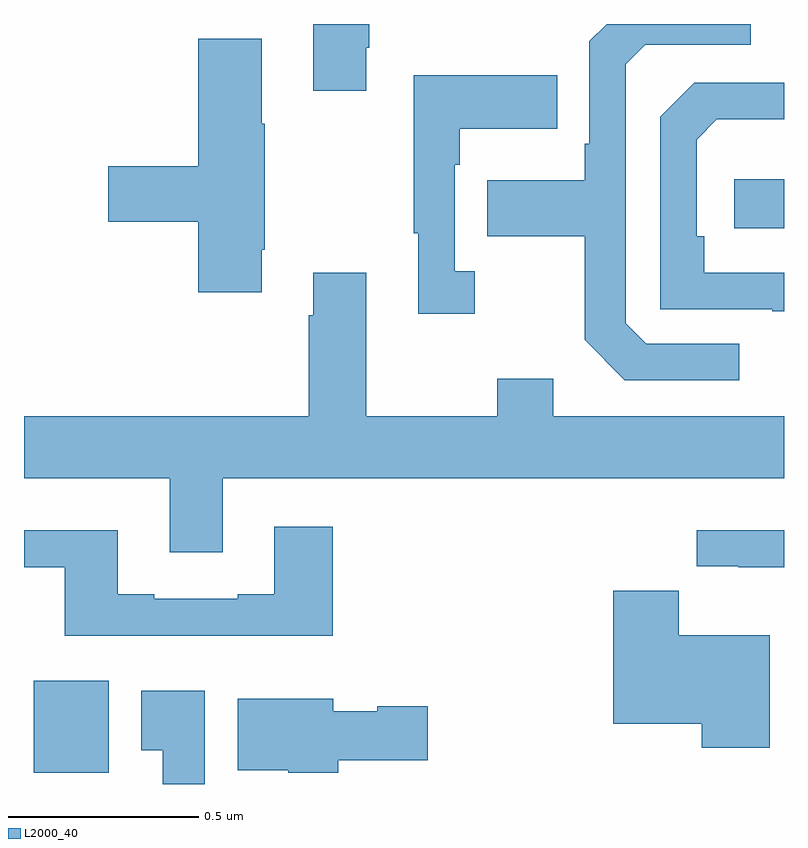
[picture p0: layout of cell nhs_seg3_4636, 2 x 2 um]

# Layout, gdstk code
import gdstk
lib = gdstk.Library(unit=1e-6, precision=1e-09)
def R(c, l, rs):  # rectangles x0, y0, x1, y1
    for r in rs: c.add(gdstk.rectangle(r[:2], r[2:], *l))
def P(c, l, *ps):  # polygons
    for p in ps: c.add(gdstk.Polygon(p, *l))
L2000_40 = (2000, 40)

nhs_seg3_4636 = lib.new_cell('nhs_seg3_4636')
R(nhs_seg3_4636, L2000_40, [(168.026,745.43,168.223,745.672), (169.869,746.862,170,746.992)])
P(nhs_seg3_4636, L2000_40, [(168.901,747.337),(168.909,747.337),(168.909,747.4),(168.761,747.4),(168.761,747.225),(168.901,747.225)],
  [(169.882,746.559),(169.638,746.559),(169.584,746.613),(169.584,747.294),(169.635,747.345),(169.912,747.345),(169.912,747.4),(169.534,747.4),(169.488,747.354),(169.488,747.085),(169.476,747.085),(169.476,746.989),(169.219,746.989),(169.219,746.842),(169.476,746.842),(169.476,746.569),(169.581,746.463),(169.882,746.463)],
  [(168.625,746.806),(168.633,746.806),(168.633,747.137),(168.625,747.137),(168.625,747.361),(168.458,747.361),(168.458,747.026),(168.222,747.026),(168.222,746.879),(168.458,746.879),(168.458,746.694),(168.625,746.694)],
  [(169.186,746.75),(169.134,746.75),(169.134,747.029),(169.147,747.029),(169.147,747.125),(169.403,747.125),(169.403,747.265),(169.026,747.265),(169.026,746.849),(169.037,746.849),(169.037,746.637),(169.186,746.637)],
  [(170,746.745),(169.79,746.745),(169.79,746.842),(169.77,746.842),(169.77,747.096),(169.823,747.149),(170,747.149),(170,747.246),(169.764,747.246),(169.674,747.156),(169.674,746.649),(169.969,746.649),(169.969,746.644),(170,746.644)],
  [(168.523,746.204),(170,746.204),(170,746.368),(169.393,746.368),(169.393,746.467),(169.246,746.467),(169.246,746.368),(168.901,746.368),(168.901,746.746),(168.761,746.746),(168.761,746.633),(168.749,746.633),(168.749,746.368),(168,746.368),(168,746.204),(168.383,746.204),(168.383,746.01),(168.523,746.01)],
  [(168.812,746.077),(168.659,746.077),(168.659,745.9),(168.563,745.9),(168.563,745.887),(168.343,745.887),(168.343,745.9),(168.247,745.9),(168.247,746.068),(168,746.068),(168,745.971),(168.107,745.971),(168.107,745.79),(168.812,745.79)],
  [(170,746.068),(169.77,746.068),(169.77,745.973),(169.879,745.973),(169.879,745.971),(170,745.971)],
  [(169.963,745.792),(169.723,745.792),(169.723,745.908),(169.55,745.908),(169.55,745.559),(169.784,745.559),(169.784,745.496),(169.963,745.496)],
  [(168.475,745.645),(168.308,745.645),(168.308,745.489),(168.365,745.489),(168.365,745.4),(168.475,745.4)],
  [(168.827,745.462),(169.063,745.462),(169.063,745.604),(168.93,745.604),(168.93,745.591),(168.814,745.591),(168.814,745.624),(168.563,745.624),(168.563,745.436),(168.696,745.436),(168.696,745.43),(168.827,745.43)])

lib.write_gds('nhs_seg3_4636.gds')
